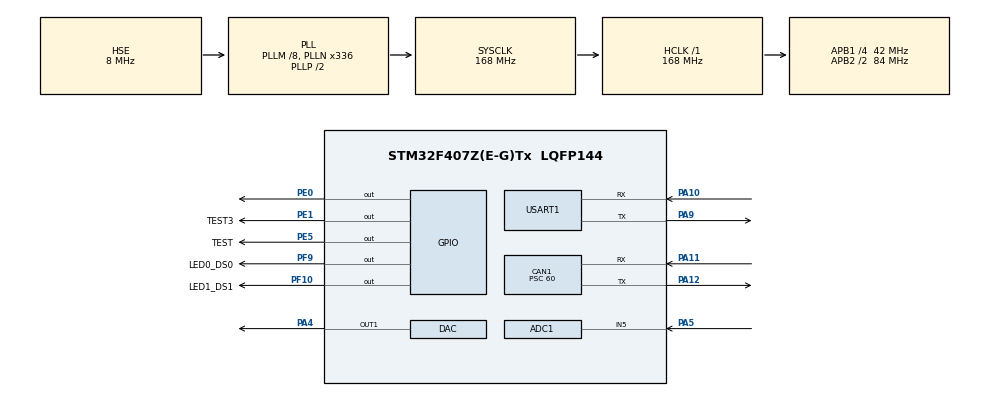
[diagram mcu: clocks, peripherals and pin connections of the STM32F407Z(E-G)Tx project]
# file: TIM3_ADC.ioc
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ADC1.Channel-0\#ChannelRegularConversion=ADC_CHANNEL_5
ADC1.ClockPrescaler=ADC_CLOCK_SYNC_PCLK_DIV4
ADC1.ContinuousConvMode=DISABLE
ADC1.DMAContinuousRequests=ENABLE
ADC1.DataAlign=ADC_DATAALIGN_RIGHT
ADC1.DiscontinuousConvMode=DISABLE
ADC1.EOCSelection=ADC_EOC_SINGLE_CONV
ADC1.EnableAnalogWatchDog=false
ADC1.ExternalTrigConv=ADC_EXTERNALTRIGCONV_T3_TRGO
ADC1.ExternalTrigConvEdge=ADC_EXTERNALTRIGCONVEDGE_RISING
ADC1.InjNumberOfConversion=0
ADC1.NbrOfConversion=1
ADC1.NbrOfConversionFlag=1
ADC1.Rank-0\#ChannelRegularConversion=1
ADC1.Resolution=ADC_RESOLUTION_12B
ADC1.SamplingTime-0\#ChannelRegularConversion=ADC_SAMPLETIME_3CYCLES
ADC1.ScanConvMode=DISABLE
ADC1.master=1
CAN1.BS1=CAN_BS1_6TQ
CAN1.BS2=CAN_BS2_7TQ
CAN1.CalculateTimeBit=20000
CAN1.CalculateTimeQuantum=1428.5714285714287
CAN1.Mode=CAN_MODE_NORMAL
CAN1.Prescaler=60
DAC.DAC_Trigger=DAC_TRIGGER_T2_TRGO
Dma.ADC1.4.Direction=DMA_PERIPH_TO_MEMORY
Dma.ADC1.4.FIFOMode=DMA_FIFOMODE_DISABLE
Dma.ADC1.4.Instance=DMA2_Stream0
Dma.ADC1.4.MemDataAlignment=DMA_MDATAALIGN_HALFWORD
Dma.ADC1.4.MemInc=DMA_MINC_ENABLE
Dma.ADC1.4.Mode=DMA_NORMAL
Dma.ADC1.4.PeriphDataAlignment=DMA_PDATAALIGN_HALFWORD
Dma.ADC1.4.PeriphInc=DMA_PINC_DISABLE
Dma.ADC1.4.Priority=DMA_PRIORITY_MEDIUM
Dma.DAC1.3.Direction=DMA_MEMORY_TO_PERIPH
Dma.DAC1.3.FIFOMode=DMA_FIFOMODE_DISABLE
Dma.DAC1.3.Instance=DMA1_Stream5
Dma.DAC1.3.MemDataAlignment=DMA_MDATAALIGN_HALFWORD
Dma.DAC1.3.MemInc=DMA_MINC_ENABLE
Dma.DAC1.3.Mode=DMA_NORMAL
Dma.DAC1.3.PeriphDataAlignment=DMA_PDATAALIGN_HALFWORD
Dma.DAC1.3.PeriphInc=DMA_PINC_DISABLE
Dma.DAC1.3.Priority=DMA_PRIORITY_MEDIUM
Dma.MEMTOMEM.0.Direction=DMA_MEMORY_TO_MEMORY
Dma.MEMTOMEM.0.FIFOMode=DMA_FIFOMODE_ENABLE
Dma.MEMTOMEM.0.FIFOThreshold=DMA_FIFO_THRESHOLD_FULL
Dma.MEMTOMEM.0.Instance=DMA2_Stream1
Dma.MEMTOMEM.0.MemBurst=DMA_MBURST_SINGLE
Dma.MEMTOMEM.0.MemDataAlignment=DMA_MDATAALIGN_HALFWORD
Dma.MEMTOMEM.0.MemInc=DMA_MINC_ENABLE
Dma.MEMTOMEM.0.Mode=DMA_NORMAL
Dma.MEMTOMEM.0.PeriphBurst=DMA_PBURST_SINGLE
Dma.MEMTOMEM.0.PeriphDataAlignment=DMA_PDATAALIGN_HALFWORD
Dma.MEMTOMEM.0.PeriphInc=DMA_PINC_ENABLE
Dma.MEMTOMEM.0.Priority=DMA_PRIORITY_LOW
Dma.MEMTOMEM.1.Direction=DMA_MEMORY_TO_MEMORY
Dma.MEMTOMEM.1.FIFOMode=DMA_FIFOMODE_ENABLE
Dma.MEMTOMEM.1.FIFOThreshold=DMA_FIFO_THRESHOLD_FULL
Dma.MEMTOMEM.1.Instance=DMA2_Stream2
Dma.MEMTOMEM.1.MemBurst=DMA_MBURST_SINGLE
Dma.MEMTOMEM.1.MemDataAlignment=DMA_MDATAALIGN_BYTE
Dma.MEMTOMEM.1.MemInc=DMA_MINC_ENABLE
Dma.MEMTOMEM.1.Mode=DMA_NORMAL
Dma.MEMTOMEM.1.PeriphBurst=DMA_PBURST_SINGLE
Dma.MEMTOMEM.1.PeriphDataAlignment=DMA_PDATAALIGN_BYTE
Dma.MEMTOMEM.1.PeriphInc=DMA_PINC_ENABLE
Dma.MEMTOMEM.1.Priority=DMA_PRIORITY_LOW
Dma.Request0=MEMTOMEM
Dma.Request1=MEMTOMEM
Dma.Request2=USART1_TX
Dma.Request3=DAC1
Dma.Request4=ADC1
Dma.USART1_TX.2.Direction=DMA_MEMORY_TO_PERIPH
Dma.USART1_TX.2.FIFOMode=DMA_FIFOMODE_DISABLE
Dma.USART1_TX.2.Instance=DMA2_Stream7
Dma.USART1_TX.2.MemDataAlignment=DMA_MDATAALIGN_BYTE
Dma.USART1_TX.2.MemInc=DMA_MINC_ENABLE
Dma.USART1_TX.2.Mode=DMA_NORMAL
Dma.USART1_TX.2.PeriphDataAlignment=DMA_PDATAALIGN_BYTE
Dma.USART1_TX.2.PeriphInc=DMA_PINC_DISABLE
Dma.USART1_TX.2.Priority=DMA_PRIORITY_LOW
FREERTOS.BinarySemaphores01=myBinarySemDMAFinished,Dynamic,NULL;myBinarySemADCCplt,Dynamic,NULL;myBinarySemADCHalfCplt,Dynamic,NULL;myBinarySemTest,Dynamic,NULL;myBinarySemDecInBufferReady,Dynamic,NULL;myBinarySemEncodCplt,Dynamic,NULL;myBinarySemCanRecvCplt,Dynamic,NULL
FREERTOS.Tasks01=defaultTask,0,128,StartDefaultTask,Default,NULL,Dynamic,NULL,NULL;myTask02,-3,128,StartTask02,Default,NULL,Dynamic,NULL,NULL;myTaskSpeexEnc,3,512,StartTaskSpeexEnc,Default,NULL,Dynamic,NULL,NULL;myTaskSpeexDec,3,512,StartTaskSpeexDec,Default,NULL,Dynamic,NULL,NULL;myTaskUI,3,512,StartTaskUI,Default,NULL,Dynamic,NULL,NULL;myTaskCanBusSend,2,512,StartTaskCanBusSend,Default,NULL,Dynamic,NULL,NULL;myTaskCanRecvPreProcess,2,512,StartTaskCanRecvPreProcess,Default,NULL,Dynamic,NULL,NULL
FREERTOS.configGENERATE_RUN_TIME_STATS=0
FREERTOS.configMAX_TASK_NAME_LEN=32
FREERTOS.configUSE_STATS_FORMATTING_FUNCTIONS=0
FREERTOS.configUSE_TRACE_FACILITY=1
Mcu.Family=STM32F4
Mcu.Name=STM32F407Z(E-G)Tx
Mcu.Package=LQFP144
NVIC.CAN1_RX0_IRQn=true\:5\:0\:false\:false\:true\:true\:true
NVIC.DMA1_Stream5_IRQn=true\:5\:0\:false\:false\:true\:true\:false
NVIC.DMA2_Stream0_IRQn=true\:5\:0\:false\:false\:true\:true\:false
NVIC.DMA2_Stream1_IRQn=true\:5\:0\:false\:false\:true\:true\:true
NVIC.DMA2_Stream2_IRQn=true\:5\:0\:false\:false\:true\:true\:true
NVIC.DMA2_Stream7_IRQn=true\:5\:0\:false\:false\:true\:true\:false
NVIC.PriorityGroup=NVIC_PRIORITYGROUP_4
NVIC.TIM1_UP_TIM10_IRQn=true\:0\:0\:false\:false\:true\:false\:false
NVIC.TIM2_IRQn=true\:5\:0\:false\:false\:true\:true\:true
NVIC.TIM3_IRQn=true\:5\:0\:false\:false\:true\:true\:true
NVIC.TIM5_IRQn=true\:5\:0\:false\:false\:true\:true\:true
NVIC.TimeBase=TIM1_UP_TIM10_IRQn
NVIC.TimeBaseIP=TIM1
NVIC.USART1_IRQn=true\:5\:0\:false\:false\:true\:true\:true
PA10.Mode=Asynchronous
PA10.Signal=USART1_RX
PA11.Mode=Master
PA11.Signal=CAN1_RX
PA12.Mode=Master
PA12.Signal=CAN1_TX
PA4.Signal=COMP_DAC1_group
PA5.Signal=ADCx_IN5
PA9.Mode=Asynchronous
PA9.Signal=USART1_TX
PE0.Signal=GPIO_Output
PE1.GPIO_Label=TEST3
PE1.GPIO_PuPd=GPIO_PULLUP
PE1.GPIO_Speed=GPIO_SPEED_FREQ_HIGH
PE1.Signal=GPIO_Output
PE5.GPIO_Label=TEST
PE5.GPIO_PuPd=GPIO_PULLUP
PE5.GPIO_Speed=GPIO_SPEED_FREQ_HIGH
PE5.Signal=GPIO_Output
PF10.GPIO_Label=LED1_DS1
PF10.Signal=GPIO_Output
PF9.GPIO_Label=LED0_DS0
PF9.Signal=GPIO_Output
PH0-OSC_IN.Mode=HSE-External-Oscillator
PH0-OSC_IN.Signal=RCC_OSC_IN
PH1-OSC_OUT.Mode=HSE-External-Oscillator
PH1-OSC_OUT.Signal=RCC_OSC_OUT
ProjectManager.HeapSize=0x200
ProjectManager.StackSize=0x400
ProjectManager.TargetToolchain=MDK-ARM V5
RCC.48MHZClocksFreq_Value=84000000
RCC.AHBFreq_Value=168000000
RCC.APB1CLKDivider=RCC_HCLK_DIV4
RCC.APB1Freq_Value=42000000
RCC.APB1TimFreq_Value=84000000
RCC.APB2CLKDivider=RCC_HCLK_DIV2
RCC.APB2Freq_Value=84000000
RCC.APB2TimFreq_Value=168000000
RCC.CortexFreq_Value=168000000
RCC.HCLKFreq_Value=168000000
RCC.HSE_VALUE=8000000
RCC.HSI_VALUE=16000000
RCC.LSE_VALUE=32768
RCC.PLLM=8
RCC.PLLN=336
RCC.PLLSourceVirtual=RCC_PLLSOURCE_HSE
RCC.SYSCLKFreq_VALUE=168000000
RCC.SYSCLKSource=RCC_SYSCLKSOURCE_PLLCLK
RCC.VCOOutputFreq_Value=336000000
SH.ADCx_IN5.0=ADC1_IN5,IN5
SH.COMP_DAC1_group.0=DAC_OUT1,DAC_OUT1
TIM2.Period=499
TIM2.Prescaler=20
TIM2.TIM_MasterOutputTrigger=TIM_TRGO_UPDATE
TIM3.Period=499
TIM3.Prescaler=20
TIM3.TIM_MasterOutputTrigger=TIM_TRGO_UPDATE
TIM5.Period=199
TIM5.Prescaler=8399
USART1.VirtualMode=VM_ASYNC
VP_FREERTOS_VS_ENABLE.Mode=Enabled
VP_SYS_VS_tim1.Mode=TIM1
VP_TIM2_VS_ClockSourceINT.Mode=Internal
VP_TIM3_VS_ClockSourceINT.Mode=Internal
VP_TIM5_VS_ClockSourceINT.Mode=Internal
board=TIM3_ADC

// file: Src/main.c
/**
  ******************************************************************************
  * File Name          : main.c
  * Description        : Main program body
  ******************************************************************************
  * This notice applies to any and all portions of this file
  * that are not between comment pairs USER CODE BEGIN and
  * USER CODE END. Other portions of this file, whether
  * inserted by the user or by software development tools
  * are owned by their respective copyright owners.
  *
  * Copyright (c) 2018 STMicroelectronics International N.V.
  * All rights reserved.
  *
  * Redistribution and use in source and binary forms, with or without
  * modification, are permitted, provided that the following conditions are met:
  *
  * 1. Redistribution of source code must retain the above copyright notice,
  *    this list of conditions and the following disclaimer.
  * 2. Redistributions in binary form must reproduce the above copyright notice,
  *    this list of conditions and the following disclaimer in the documentation
  *    and/or other materials provided with the distribution.
  * 3. Neither the name of STMicroelectronics nor the names of other
  *    contributors to this software may be used to endorse or promote products
  *    derived from this software without specific written permission.
  * 4. This software, including modifications and/or derivative works of this
  *    software, must execute solely and exclusively on microcontroller or
  *    microprocessor devices manufactured by or for STMicroelectronics.
  * 5. Redistribution and use of this software other than as permitted under
  *    this license is void and will automatically terminate your rights under
  *    this license.
  *
  * THIS SOFTWARE IS PROVIDED BY STMICROELECTRONICS AND CONTRIBUTORS "AS IS"
  * AND ANY EXPRESS, IMPLIED OR STATUTORY WARRANTIES, INCLUDING, BUT NOT
  * LIMITED TO, THE IMPLIED WARRANTIES OF MERCHANTABILITY, FITNESS FOR A
  * PARTICULAR PURPOSE AND NON-INFRINGEMENT OF THIRD PARTY INTELLECTUAL PROPERTY
  * RIGHTS ARE DISCLAIMED TO THE FULLEST EXTENT PERMITTED BY LAW. IN NO EVENT
  * SHALL STMICROELECTRONICS OR CONTRIBUTORS BE LIABLE FOR ANY DIRECT, INDIRECT,
  * INCIDENTAL, SPECIAL, EXEMPLARY, OR CONSEQUENTIAL DAMAGES (INCLUDING, BUT NOT
  * LIMITED TO, PROCUREMENT OF SUBSTITUTE GOODS OR SERVICES; LOSS OF USE, DATA,
  * OR PROFITS; OR BUSINESS INTERRUPTION) HOWEVER CAUSED AND ON ANY THEORY OF
  * LIABILITY, WHETHER IN CONTRACT, STRICT LIABILITY, OR TORT (INCLUDING
  * NEGLIGENCE OR OTHERWISE) ARISING IN ANY WAY OUT OF THE USE OF THIS SOFTWARE,
  * EVEN IF ADVISED OF THE POSSIBILITY OF SUCH DAMAGE.
  *
  ******************************************************************************
  */
#include "main.h"
#include "stm32f4xx_hal.h"
#include "cmsis_os.h"
#include "adc.h"
#include "can.h"
#include "dac.h"
#include "dma.h"
#include "tim.h"
#include "usart.h"
#include "gpio.h"

/* USER CODE BEGIN Includes */
#include "key.h"
#include "malloc.h"
#include "custom_types.h"
#include "speex/speex.h"
/* USER CODE END Includes */

/* USER CODE BEGIN PV */
/* Private variables ---------------------------------------------------------*/
extern osSemaphoreId myBinarySemADCCpltHandle;
extern osSemaphoreId myBinarySemADCHalfCpltHandle;

int16_t buffer[FRAME_SIZE*2];
int16_t buffer_U[FRAME_SIZE];
char dec_in_buffer_1[ENCODED_FRAME_SIZE];
char dec_in_buffer_2[ENCODED_FRAME_SIZE];
uint8_t dec_in_buffer_1_dec_busy; //DMA双缓冲标记[DMA传输] 1忙，向2缓冲区传递数据；0不忙，向1缓冲区传递数据
uint32_t len,i;

//speex
__IO int16_t SPEEX_ENC_IN_BUFFER[FRAME_SIZE];
__IO uint16_t SPEEX_ENC_IN_BUFFER_U[FRAME_SIZE];
__IO int16_t SPEEX_DEC_OUT_Buffer_1[FRAME_SIZE];
__IO int16_t SPEEX_DEC_OUT_Buffer_2[FRAME_SIZE];

__IO uint16_t SPEEX_DEC_OUT_Buffer_1_U[FRAME_SIZE];
__IO uint16_t SPEEX_DEC_OUT_Buffer_2_U[FRAME_SIZE];
uint32_t Encoded_Frames=0;

SpeexBits bits,decBits;/* Holds bits so they can be read and written by the Speex routines */
void *enc_state, *dec_state;/* Holds the states of the encoder & the decoder */
int quality = 4, complexity=1, vbr=0, enh=1;/* SPEEX PARAMETERS, MUST REMAINED UNCHANGED */

extern uint8_t Start_Decoding;
extern uint8_t Playing_buf;

char out_bytes[ENCODED_FRAME_SIZE];
char remote_dec_in_bytes[ENCODED_FRAME_SIZE];
uint8_t can_bus_encoded_buf[ENCODED_FRAME_SIZE];
uint8_t can_bus_buf[ENCODED_FRAME_SIZE];
char input_bytes[ENCODED_FRAME_SIZE*2]; //使用双缓冲，DMA传输提供HALFCplt和Cple两个信号，每个信号间隔【10ms】【为数据流节拍】
/* USER CODE END PV */

void SystemClock_Config(void);
void MX_FREERTOS_Init(void);

/* USER CODE BEGIN PFP */
/* Private function prototypes -----------------------------------------------*/

/* USER CODE END PFP */

int main(void)
{

  /* USER CODE BEGIN 1 */
	int frame_size=0;
  /* USER CODE END 1 */

  /* MCU Configuration----------------------------------------------------------*/

  /* Reset of all peripherals, Initializes the Flash interface and the Systick. */
  HAL_Init();

  /* USER CODE BEGIN Init */
	KEY_Init();
	my_mem_init(SRAMIN); //初始化内部内存池

	speex_bits_init(&bits);
	//编码器初始化
	enc_state = speex_encoder_init(&speex_nb_mode);
	speex_encoder_ctl(enc_state, SPEEX_SET_VBR, &vbr);
	speex_encoder_ctl(enc_state, SPEEX_SET_QUALITY,&quality);
	speex_encoder_ctl(enc_state, SPEEX_SET_COMPLEXITY, &complexity);
	//解码器初始化
	speex_bits_init(&decBits);
	/*Create a new decoder state in narrowband mode*/
	dec_state = speex_decoder_init(&speex_nb_mode);
	speex_decoder_ctl(dec_state, SPEEX_SET_ENH, &enh);

  /* USER CODE END Init */

  /* Configure the system clock */
  SystemClock_Config();

  /* Initialize all configured peripherals */
  MX_GPIO_Init();
  MX_DMA_Init();
  MX_ADC1_Init();
  MX_TIM3_Init();
  MX_USART1_UART_Init();
  MX_CAN1_Init();
  MX_TIM2_Init();
  MX_DAC_Init();
  MX_TIM5_Init();

  /* USER CODE BEGIN 2 */
	HAL_TIM_Base_Start_IT(&htim3);
	HAL_TIM_Base_Start_IT(&htim2);

	CAN1_USER_CONFIG();  //CAN 用户自定义，cubeMX有些内容没有自动生成
	HAL_CAN_Receive_IT(&hcan1, CAN_FIFO0); //启动canbus中断接收

	//HAL_UART_Transmit_DMA(&huart1, buffer, len);

	//vTraceEnable(TRC_INIT);
	//vTraceEnable(TRC_START);
	/*启动trace选项*/
	//vTraceEnable(TRC_START_AWAIT_HOST);
  /* USER CODE END 2 */

  /* Call init function for freertos objects (in freertos.c) */
  MX_FREERTOS_Init();

  /* Start scheduler */
  osKernelStart();

  /* We should never get here as control is now taken by the scheduler */

  /* Infinite loop */
  while (1)
  {

  }

}

/** System Clock Configuration
*/
void SystemClock_Config(void)
{

  RCC_OscInitTypeDef RCC_OscInitStruct;
  RCC_ClkInitTypeDef RCC_ClkInitStruct;

    /**Configure the main internal regulator output voltage
    */
  __HAL_RCC_PWR_CLK_ENABLE();

  __HAL_PWR_VOLTAGESCALING_CONFIG(PWR_REGULATOR_VOLTAGE_SCALE1);

    /**Initializes the CPU, AHB and APB busses clocks
    */
  RCC_OscInitStruct.OscillatorType = RCC_OSCILLATORTYPE_HSE;
  RCC_OscInitStruct.HSEState = RCC_HSE_ON;
  RCC_OscInitStruct.PLL.PLLState = RCC_PLL_ON;
  RCC_OscInitStruct.PLL.PLLSource = RCC_PLLSOURCE_HSE;
  RCC_OscInitStruct.PLL.PLLM = 8;
  RCC_OscInitStruct.PLL.PLLN = 336;
  RCC_OscInitStruct.PLL.PLLP = RCC_PLLP_DIV2;
  RCC_OscInitStruct.PLL.PLLQ = 4;
  if (HAL_RCC_OscConfig(&RCC_OscInitStruct) != HAL_OK)
  {
    _Error_Handler(__FILE__, __LINE__);
  }

    /**Initializes the CPU, AHB and APB busses clocks
    */
  RCC_ClkInitStruct.ClockType = RCC_CLOCKTYPE_HCLK|RCC_CLOCKTYPE_SYSCLK
                              |RCC_CLOCKTYPE_PCLK1|RCC_CLOCKTYPE_PCLK2;
  RCC_ClkInitStruct.SYSCLKSource = RCC_SYSCLKSOURCE_PLLCLK;
  RCC_ClkInitStruct.AHBCLKDivider = RCC_SYSCLK_DIV1;
  RCC_ClkInitStruct.APB1CLKDivider = RCC_HCLK_DIV4;
  RCC_ClkInitStruct.APB2CLKDivider = RCC_HCLK_DIV2;

  if (HAL_RCC_ClockConfig(&RCC_ClkInitStruct, FLASH_LATENCY_5) != HAL_OK)
  {
    _Error_Handler(__FILE__, __LINE__);
  }

    /**Configure the Systick interrupt time
    */
  HAL_SYSTICK_Config(HAL_RCC_GetHCLKFreq()/1000);

    /**Configure the Systick
    */
  HAL_SYSTICK_CLKSourceConfig(SYSTICK_CLKSOURCE_HCLK);

  /* SysTick_IRQn interrupt configuration */
  HAL_NVIC_SetPriority(SysTick_IRQn, 15, 0);
}

/* USER CODE BEGIN 4 */
/* ADC DMA half-complete callback */
void HAL_ADC_ConvHalfCpltCallback(ADC_HandleTypeDef* hadc)
{
  /* Prevent unused argument(s) compilation warning */
  //UNUSED(hadc);
  /* NOTE : This function Should not be modified, when the callback is needed,
            the HAL_ADC_ConvHalfCpltCallback could be implemented in the user file
   */
	//HAL_GPIO_TogglePin(TEST3_GPIO_Port, TEST3_Pin);
	//xSemaphoreGiveFromISR(myBinarySemADCHalfCpltHandle, NULL);
	uint32_t i;
	int32_t tmp;
	//12bitADC采用左对齐方式[16bit half word]
	for(i=0;i<FRAME_SIZE;i++){
		tmp = (buffer[i] - 0x800) * 0x7FFF / 0x800;
		buffer[i] = (int16_t)tmp;
		//buffer[i] -= DATA_WIDTH_MAX_HALF; //平移操作，位于0值上下
	}
	HAL_DMA_Start_IT(&hdma_memtomem_dma2_stream1, (uint32_t)buffer, (uint32_t)SPEEX_ENC_IN_BUFFER, FRAME_SIZE);

	//临时启动DAC DMA传输，测试音频通路
	//for(i=0;i<)
	//HAL_DAC_Start_DMA(&hdac, DAC_CHANNEL_1, (uint32_t *)buffer, FRAME_SIZE, DAC_ALIGN_12B_R);
}

/* ADC DMA complete callback */
/* ADC double buffer is implemented by half-complete and full-complete DMA transmission signal */
void HAL_ADC_ConvCpltCallback(ADC_HandleTypeDef* hadc)
{
  /* Prevent unused argument(s) compilation warning */
  //UNUSED(hadc);
  /* NOTE : This function Should not be modified, when the callback is needed,
            the HAL_ADC_ConvCpltCallback could be implemented in the user file
   */

	//HAL_GPIO_TogglePin(TEST_GPIO_Port, TEST_Pin);
	uint32_t i;
	int32_t tmp;
	//12bitADC采用左对齐方式【16bit half word】
	for(i=0;i<FRAME_SIZE;i++){
		tmp = (buffer[i + FRAME_SIZE] - 0x800) * 0x7FFF / 0x800;
		buffer[i + FRAME_SIZE] = (int16_t)tmp;
//		buffer[i + FRAME_SIZE] <<= 3;
//		buffer[i + FRAME_SIZE] -= DATA_WIDTH_MAX_HALF; //平移操作，位于0值上下
	}
	HAL_ADC_Start_DMA(&hadc1, (uint32_t*)buffer, FRAME_SIZE*2);

	/*启动 memory to memory DMA传输，将双缓冲中的数据依次送往SPEEX编码缓冲区*/
	/*将双缓冲的后半部分通过DMA传输至SPEEX编码缓冲区*/
	HAL_DMA_Start_IT(&hdma_memtomem_dma2_stream1, (uint32_t)&buffer[FRAME_SIZE], (uint32_t)SPEEX_ENC_IN_BUFFER, FRAME_SIZE);

	//临时启动DAC DMA传输，测试音频通路
	//HAL_DAC_Start_DMA(&hdac, DAC_CHANNEL_1, (uint32_t *)&buffer[FRAME_SIZE], FRAME_SIZE, DAC_ALIGN_12B_R);
}

void HAL_DAC_ConvHalfCpltCallbackCh1(DAC_HandleTypeDef* hdac)
{
  /* Prevent unused argument(s) compilation warning */
  UNUSED(hdac);
  /* NOTE : This function Should not be modified, when the callback is needed,
            the HAL_DAC_ConvHalfCpltCallbackCh1 could be implemented in the user file
   */

}

void HAL_DAC_ConvCpltCallbackCh1(DAC_HandleTypeDef* hdac)
{
  /* Prevent unused argument(s) compilation warning */
//  UNUSED(hdac);
  /* NOTE : This function Should not be modified, when the callback is needed,
            the HAL_DAC_ConvCpltCallback could be implemented in the user file
   */
	//HAL_GPIO_TogglePin(TEST3_GPIO_Port, TEST3_Pin);
	if(Playing_buf == 1){
		Playing_buf =2; //切换播放buf2
		Start_Decoding = 1; //buf1播放完之后向buf1中解码数据
		HAL_DAC_Start_DMA(hdac, DAC_CHANNEL_1, (uint32_t *)SPEEX_DEC_OUT_Buffer_2_U, FRAME_SIZE, DAC_ALIGN_12B_R);

	}
	else if(Playing_buf == 2){
		Playing_buf = 1;//切换播放buf1
		Start_Decoding = 2; //buf1播放完之后向buf1中解码数据
		HAL_DAC_Start_DMA(hdac, DAC_CHANNEL_1, (uint32_t *)SPEEX_DEC_OUT_Buffer_1_U, FRAME_SIZE, DAC_ALIGN_12B_R);

	}
}
/**
  * @brief  Ovveride the _speex_putc function of the speex library
  * @param  None
  * @retval : None
  */
void _speex_putc(int ch, void *file)
{
  while(1)
  {
  };
}

/**
  * @brief  Ovveride the _speex_fatal function of the speex library
  * @param  None
  * @retval : None
  */
void _speex_fatal(const char *str, const char *file, int line)
{
  while(1)
  {
  };
}

/* USER CODE END 4 */

void HAL_TIM_PeriodElapsedCallback(TIM_HandleTypeDef *htim)
{
  if (htim->Instance == TIM1) {
    HAL_IncTick();
  }
/* USER CODE BEGIN Callback 1 */
//	if (htim->Instance == TIM3) {
//		//HAL_GPIO_TogglePin(TEST_GPIO_Port, TEST_Pin);
//	}
/* USER CODE END Callback 1 */
}

void _Error_Handler(char * file, int line)
{
  while(1)
  {
  }
}

/************************ (C) COPYRIGHT STMicroelectronics *****END OF FILE****/

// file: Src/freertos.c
/**
  ******************************************************************************
  * File Name          : freertos.c
  * Description        : Code for freertos applications
  ******************************************************************************
  * This notice applies to any and all portions of this file
  * that are not between comment pairs USER CODE BEGIN and
  * USER CODE END. Other portions of this file, whether
  * inserted by the user or by software development tools
  * are owned by their respective copyright owners.
  *
  * Copyright (c) 2018 STMicroelectronics International N.V.
  * All rights reserved.
  *
  * Redistribution and use in source and binary forms, with or without
  * modification, are permitted, provided that the following conditions are met:
  *
  * 1. Redistribution of source code must retain the above copyright notice,
  *    this list of conditions and the following disclaimer.
  * 2. Redistributions in binary form must reproduce the above copyright notice,
  *    this list of conditions and the following disclaimer in the documentation
  *    and/or other materials provided with the distribution.
  * 3. Neither the name of STMicroelectronics nor the names of other
  *    contributors to this software may be used to endorse or promote products
  *    derived from this software without specific written permission.
  * 4. This software, including modifications and/or derivative works of this
  *    software, must execute solely and exclusively on microcontroller or
  *    microprocessor devices manufactured by or for STMicroelectronics.
  * 5. Redistribution and use of this software other than as permitted under
  *    this license is void and will automatically terminate your rights under
  *    this license.
  *
  * THIS SOFTWARE IS PROVIDED BY STMICROELECTRONICS AND CONTRIBUTORS "AS IS"
  * AND ANY EXPRESS, IMPLIED OR STATUTORY WARRANTIES, INCLUDING, BUT NOT
  * LIMITED TO, THE IMPLIED WARRANTIES OF MERCHANTABILITY, FITNESS FOR A
  * PARTICULAR PURPOSE AND NON-INFRINGEMENT OF THIRD PARTY INTELLECTUAL PROPERTY
  * RIGHTS ARE DISCLAIMED TO THE FULLEST EXTENT PERMITTED BY LAW. IN NO EVENT
  * SHALL STMICROELECTRONICS OR CONTRIBUTORS BE LIABLE FOR ANY DIRECT, INDIRECT,
  * INCIDENTAL, SPECIAL, EXEMPLARY, OR CONSEQUENTIAL DAMAGES (INCLUDING, BUT NOT
  * LIMITED TO, PROCUREMENT OF SUBSTITUTE GOODS OR SERVICES; LOSS OF USE, DATA,
  * OR PROFITS; OR BUSINESS INTERRUPTION) HOWEVER CAUSED AND ON ANY THEORY OF
  * LIABILITY, WHETHER IN CONTRACT, STRICT LIABILITY, OR TORT (INCLUDING
  * NEGLIGENCE OR OTHERWISE) ARISING IN ANY WAY OUT OF THE USE OF THIS SOFTWARE,
  * EVEN IF ADVISED OF THE POSSIBILITY OF SUCH DAMAGE.
  *
  ******************************************************************************
  */

#include "FreeRTOS.h"
#include "task.h"
#include "cmsis_os.h"

/* USER CODE BEGIN Includes */
#include "gpio.h"
#include "key.h"
#include "usart.h"
#include "dma.h"
#include "stdlib.h"
#include "custom_types.h"
#include "speex/speex.h"
#include "speex/speex_config_types.h"
#include "dac.h"
#include "voice.h"
#include "tim.h"
#include "adc.h"
#include "can.h"
/* USER CODE END Includes */

osThreadId defaultTaskHandle;
osThreadId myTask02Handle;
osThreadId myTaskSpeexEncHandle;
osThreadId myTaskSpeexDecHandle;
osThreadId myTaskUIHandle;
osThreadId myTaskCanBusSendHandle;
osThreadId myTaskCanRecvPreProcessHandle;
osSemaphoreId myBinarySemDMAFinishedHandle;
osSemaphoreId myBinarySemADCCpltHandle;
osSemaphoreId myBinarySemADCHalfCpltHandle;
osSemaphoreId myBinarySemTestHandle;
osSemaphoreId myBinarySemDecInBufferReadyHandle;
osSemaphoreId myBinarySemEncodCpltHandle;
osSemaphoreId myBinarySemCanRecvCpltHandle;

/* USER CODE BEGIN Variables */
extern SpeexBits bits,decBits;/* Holds bits so they can be read and written by the Speex routines */
extern void *enc_state, *dec_state;/* Holds the states of the encoder & the decoder */

extern int16_t buffer[FRAME_SIZE*2];
extern int16_t buffer_U[FRAME_SIZE];
extern char dec_in_buffer_1[ENCODED_FRAME_SIZE];
extern char dec_in_buffer_2[ENCODED_FRAME_SIZE];
extern uint8_t dec_in_buffer_1_dec_busy;
extern __IO int16_t SPEEX_ENC_IN_BUFFER[FRAME_SIZE];
extern __IO uint16_t SPEEX_ENC_IN_BUFFER_U[FRAME_SIZE];
extern __IO int16_t SPEEX_DEC_OUT_Buffer_1[FRAME_SIZE];
extern __IO int16_t SPEEX_DEC_OUT_Buffer_2[FRAME_SIZE];
extern __IO uint16_t SPEEX_DEC_OUT_Buffer_1_U[FRAME_SIZE];
extern __IO uint16_t SPEEX_DEC_OUT_Buffer_2_U[FRAME_SIZE];
extern char out_bytes[ENCODED_FRAME_SIZE];
extern char remote_dec_in_bytes[ENCODED_FRAME_SIZE];
extern uint8_t can_bus_encoded_buf[ENCODED_FRAME_SIZE];
extern uint8_t can_bus_buf[ENCODED_FRAME_SIZE];

uint8_t Start_Decoding;
uint8_t Playing_buf;
/* USER CODE END Variables */

void StartDefaultTask(void const * argument);
void StartTask02(void const * argument);
void StartTaskSpeexEnc(void const * argument);
void StartTaskSpeexDec(void const * argument);
void StartTaskUI(void const * argument);
void StartTaskCanBusSend(void const * argument);
void StartTaskCanRecvPreProcess(void const * argument);

void MX_FREERTOS_Init(void); /* (MISRA C 2004 rule 8.1) */

/* Hook prototypes */

/* Init FreeRTOS */

void MX_FREERTOS_Init(void) {

  /* Create the semaphores(s) */
  /* definition and creation of myBinarySemDMAFinished */
  osSemaphoreDef(myBinarySemDMAFinished);
  myBinarySemDMAFinishedHandle = osSemaphoreCreate(osSemaphore(myBinarySemDMAFinished), 1);

  /* definition and creation of myBinarySemADCCplt */
  osSemaphoreDef(myBinarySemADCCplt);
  myBinarySemADCCpltHandle = osSemaphoreCreate(osSemaphore(myBinarySemADCCplt), 1);

  /* definition and creation of myBinarySemADCHalfCplt */
  osSemaphoreDef(myBinarySemADCHalfCplt);
  myBinarySemADCHalfCpltHandle = osSemaphoreCreate(osSemaphore(myBinarySemADCHalfCplt), 1);

  /* definition and creation of myBinarySemTest */
  osSemaphoreDef(myBinarySemTest);
  myBinarySemTestHandle = osSemaphoreCreate(osSemaphore(myBinarySemTest), 1);

  /* definition and creation of myBinarySemDecInBufferReady */
  osSemaphoreDef(myBinarySemDecInBufferReady);
  myBinarySemDecInBufferReadyHandle = osSemaphoreCreate(osSemaphore(myBinarySemDecInBufferReady), 1);

  /* definition and creation of myBinarySemEncodCplt */
  osSemaphoreDef(myBinarySemEncodCplt);
  myBinarySemEncodCpltHandle = osSemaphoreCreate(osSemaphore(myBinarySemEncodCplt), 1);

  /* definition and creation of myBinarySemCanRecvCplt */
  osSemaphoreDef(myBinarySemCanRecvCplt);
  myBinarySemCanRecvCpltHandle = osSemaphoreCreate(osSemaphore(myBinarySemCanRecvCplt), 1);

  /* Create the thread(s) */
  /* definition and creation of defaultTask */
  osThreadDef(defaultTask, StartDefaultTask, osPriorityNormal, 0, 128);
  defaultTaskHandle = osThreadCreate(osThread(defaultTask), NULL);

  /* definition and creation of myTask02 */
  osThreadDef(myTask02, StartTask02, osPriorityIdle, 0, 128);
  myTask02Handle = osThreadCreate(osThread(myTask02), NULL);

  /* definition and creation of myTaskSpeexEnc */
  osThreadDef(myTaskSpeexEnc, StartTaskSpeexEnc, osPriorityRealtime, 0, 512);
  myTaskSpeexEncHandle = osThreadCreate(osThread(myTaskSpeexEnc), NULL);

  /* definition and creation of myTaskSpeexDec */
  osThreadDef(myTaskSpeexDec, StartTaskSpeexDec, osPriorityRealtime, 0, 512);
  myTaskSpeexDecHandle = osThreadCreate(osThread(myTaskSpeexDec), NULL);

  /* definition and creation of myTaskUI */
  osThreadDef(myTaskUI, StartTaskUI, osPriorityRealtime, 0, 512);
  myTaskUIHandle = osThreadCreate(osThread(myTaskUI), NULL);

  /* definition and creation of myTaskCanBusSend */
  osThreadDef(myTaskCanBusSend, StartTaskCanBusSend, osPriorityHigh, 0, 512);
  myTaskCanBusSendHandle = osThreadCreate(osThread(myTaskCanBusSend), NULL);

  /* definition and creation of myTaskCanRecvPreProcess */
  osThreadDef(myTaskCanRecvPreProcess, StartTaskCanRecvPreProcess, osPriorityHigh, 0, 512);
  myTaskCanRecvPreProcessHandle = osThreadCreate(osThread(myTaskCanRecvPreProcess), NULL);

}

/* StartDefaultTask function */
void StartDefaultTask(void const * argument)
{

  /* USER CODE BEGIN StartDefaultTask */
  /* Infinite loop */
  for(;;)
  {
    osDelay(1000);
	  HAL_GPIO_TogglePin(GPIOF, LED1_DS1_Pin);
  }
  /* USER CODE END StartDefaultTask */
}

/* StartTask02 function */
void StartTask02(void const * argument)
{
  /* USER CODE BEGIN StartTask02 */
	uint8_t keyVal;
	uint8_t src[]="this is a string";
	uint8_t dest[17];
	/* Infinite loop */
	for(;;)
	{
		osDelay(100);

	}
  /* USER CODE END StartTask02 */
}

/* StartTaskSpeexEnc function */
void StartTaskSpeexEnc(void const * argument)
{
  /* USER CODE BEGIN StartTaskSpeexEnc */
	int nbBits = 0;
	uint16_t i;
  /* Infinite loop */
	for(;;)
	{
		//osDelay(100);
		if (xSemaphoreTake(myBinarySemDMAFinishedHandle, 100)){
			//HAL_GPIO_TogglePin(TEST3_GPIO_Port, TEST3_Pin);
			//HAL_GPIO_WritePin(TEST2_GPIO_Port, TEST2_Pin, GPIO_PIN_SET);
			//HAL_UART_Transmit_DMA(&huart1, (uint8_t*)SPEEX_ENC_IN_BUFFER, FRAME_SIZE);
			speex_bits_reset(&bits);
//			for(i=0;i<FRAME_SIZE;i++){
//				SPEEX_ENC_IN_BUFFER[i] -= (ADC_MAX+1)>>1;  //平移波形，分布在0上下
//			}
			speex_encode_int(enc_state, (spx_int16_t*)SPEEX_ENC_IN_BUFFER, &bits);
			nbBits = speex_bits_write(&bits, out_bytes, ENCODED_FRAME_SIZE);

			for(i=0;i<ENCODED_FRAME_SIZE;i++){
				can_bus_encoded_buf[i] = (uint8_t)out_bytes[i]; //将数据拷贝到canbus发送缓冲区
			}
			//HAL_GPIO_TogglePin(TEST_GPIO_Port, TEST_Pin);
			//通知canbus发送语音包
			//HAL_GPIO_TogglePin(TEST3_GPIO_Port, TEST3_Pin);
			xSemaphoreGive( myBinarySemEncodCpltHandle );

			//以下是解码程序，暂时不使用[本地播放]
			//添加一级缓冲，为解码争取20ms【采样一帧时间决定】的处理时间。【不加缓冲的话只能和编码处在同一级20ms缓冲区中】
			// the following code can be used to test local enc-dec-play cycle when you uncomment.
			if(dec_in_buffer_1_dec_busy){
				HAL_DMA_Start_IT(&hdma_memtomem_dma2_stream2, (uint32_t)out_bytes, (uint32_t)dec_in_buffer_2, ENCODED_FRAME_SIZE);
			}
			else{
				HAL_DMA_Start_IT(&hdma_memtomem_dma2_stream2, (uint32_t)out_bytes, (uint32_t)dec_in_buffer_1, ENCODED_FRAME_SIZE);
			}

		}
	}
  /* USER CODE END StartTaskSpeexEnc */
}

/* StartTaskSpeexDec function */
void StartTaskSpeexDec(void const * argument)
{
  /* USER CODE BEGIN StartTaskSpeexDec */
	uint16_t i;
  /* Infinite loop */
  for(;;)
  {
	  //osDelay(100);
	  if (xSemaphoreTake(myBinarySemDecInBufferReadyHandle, 100)){
//		HAL_GPIO_TogglePin(TEST3_GPIO_Port, TEST3_Pin);
		  switch(dec_in_buffer_1_dec_busy){
			case 0:
				speex_bits_read_from(&decBits, (const char *)dec_in_buffer_2, ENCODED_FRAME_SIZE);
				speex_decode_int(dec_state, &decBits, (spx_int16_t*)SPEEX_DEC_OUT_Buffer_2);
				/*处理数据溢出【超过12bit的4096】*/
				for(i=0;i<FRAME_SIZE;i++){
					SPEEX_DEC_OUT_Buffer_2_U[i] = SPEEX_DEC_OUT_Buffer_2[i];
					SPEEX_DEC_OUT_Buffer_2_U[i] += 32768;
					SPEEX_DEC_OUT_Buffer_2_U[i] >>= 4;

				}
				//解码完成，使用DAC测试效果
				//临时启动DAC DMA传输，测试音频通路
			//HAL_GPIO_WritePin(TEST3_GPIO_Port, TEST3_Pin, GPIO_PIN_SET);
			HAL_DAC_Start_DMA(&hdac, DAC_CHANNEL_1, (uint32_t *)SPEEX_DEC_OUT_Buffer_2_U, FRAME_SIZE, DAC_ALIGN_12B_R);

				break;
			case 1:
				speex_bits_read_from(&decBits, (const char *)dec_in_buffer_1, ENCODED_FRAME_SIZE);
				speex_decode_int(dec_state, &decBits, (spx_int16_t*)SPEEX_DEC_OUT_Buffer_1);
				/*处理数据溢出【超过12bit的4096】*/
				for(i=0;i<FRAME_SIZE;i++){
					SPEEX_DEC_OUT_Buffer_1_U[i] = SPEEX_DEC_OUT_Buffer_1[i];
					SPEEX_DEC_OUT_Buffer_1_U[i] += 32768;
					SPEEX_DEC_OUT_Buffer_1_U[i] >>= 4;

				}
				//解码完成，使用DAC测试效果
				//临时启动DAC DMA传输，测试音频通路
			//HAL_GPIO_WritePin(TEST3_GPIO_Port, TEST3_Pin, GPIO_PIN_RESET);
			HAL_DAC_Start_DMA(&hdac, DAC_CHANNEL_1, (uint32_t *)SPEEX_DEC_OUT_Buffer_1_U, FRAME_SIZE, DAC_ALIGN_12B_R);

				break;
			default:break;
		}

	  }

//	  if(xSemaphoreTake( myBinarySemTestHandle, 100 )){
//		HAL_UART_Transmit_DMA(&huart1, (uint8_t*)src, 9);
//		HAL_GPIO_WritePin(TEST2_GPIO_Port, TEST2_Pin, GPIO_PIN_SET);
//		/*Copy the data into the bit-stream struct*/
//		speex_bits_read_from(&bits, out_bytes, ENCODED_FRAME_SIZE);
//		speex_decode_int(dec_state, &bits, (spx_int16_t*)SPEEX_DEC_OUT_Buffer);

//		HAL_GPIO_WritePin(TEST2_GPIO_Port, TEST2_Pin, GPIO_PIN_RESET);
//	  }
  }
  /* USER CODE END StartTaskSpeexDec */
}

/* StartTaskUI function */
void StartTaskUI(void const * argument)
{
  /* USER CODE BEGIN StartTaskUI */
	uint8_t keyVal;
	uint8_t src[]="this is a string";
	uint8_t dest[17];
	uint16_t NB_Frames=0;
	uint32_t sample_index=0;
	uint16_t i=0;

	int16_t test_int16[2] = {0x1122,0x3344};
	Start_Decoding = 0;
	Playing_buf=0;
	/* Infinite loop */
	for(;;)
	{
		osDelay(100);
		keyVal = KEY_Scan(1);
		//if(keyVal != 0){
			//HAL_UART_Transmit_DMA(&huart1, &keyVal, 1);
			switch(keyVal){
				case 0:
					HAL_ADC_Stop_DMA(&hadc1);
					break;
				case 1:
					//HAL_GPIO_TogglePin(TEST_GPIO_Port, TEST_Pin);
					/*启动ADC DMA采集*/
					HAL_ADC_Start_DMA(&hadc1, (uint32_t*)buffer, FRAME_SIZE*2);

					//xSemaphoreGive(myBinarySemTestHandle);
					//HAL_DMA_Start_IT(&hdma_memtomem_dma2_stream1, (uint32_t)src, (uint32_t)dest, 17);
				break;
				case 2:
					//回放时关闭实时声音采集
					HAL_ADC_Stop_DMA(&hadc1);
					//回放应用
					//解码第一帧
					for(i=0;i<ENCODED_FRAME_SIZE; i++)
					{
					  dec_in_buffer_1[i] = male_voice[sample_index++];
					}

					/* Copy the encoded data into the bit-stream struct */
					speex_bits_read_from(&decBits, (const char *)dec_in_buffer_1, ENCODED_FRAME_SIZE);
					/* Decode the data */
					speex_decode_int(dec_state, &decBits, (spx_int16_t*)SPEEX_DEC_OUT_Buffer_1);
					/*处理数据溢出【超过12bit的4096】*/
					for(i=0;i<FRAME_SIZE;i++){
						SPEEX_DEC_OUT_Buffer_1_U[i] = SPEEX_DEC_OUT_Buffer_1[i];
						SPEEX_DEC_OUT_Buffer_1_U[i] += 32768;
						SPEEX_DEC_OUT_Buffer_1_U[i] >>= 4;

					}
					//解码第二帧
					for(i=0;i<ENCODED_FRAME_SIZE; i++)
					{
					  dec_in_buffer_1[i] = male_voice[sample_index++];
					}

					/* Copy the encoded data into the bit-stream struct */
					speex_bits_read_from(&decBits, (const char *)dec_in_buffer_1, ENCODED_FRAME_SIZE);
					/* Decode the data */
					speex_decode_int(dec_state, &decBits, (spx_int16_t*)SPEEX_DEC_OUT_Buffer_2);
					for(i=0;i<FRAME_SIZE;i++){
						SPEEX_DEC_OUT_Buffer_2_U[i] = SPEEX_DEC_OUT_Buffer_2[i];
						SPEEX_DEC_OUT_Buffer_2_U[i] += 32768;
						SPEEX_DEC_OUT_Buffer_2_U[i] >>= 4;
					}
					NB_Frames++;
					//开始播放
					Playing_buf = 1;  //标记 先播放buf1中数据
					HAL_DAC_Start_DMA(&hdac, DAC_CHANNEL_1, (uint32_t *)SPEEX_DEC_OUT_Buffer_1_U, FRAME_SIZE, DAC_ALIGN_12B_R);
					//HAL_UART_Transmit_DMA(&huart1, (uint8_t *)SPEEX_DEC_OUT_Buffer_1, FRAME_SIZE*2);

				    /* Now we wait until the playing of the buffers to re-decode ...*/
					while(NB_Frames < ALL_FRAMES)
					{
					  if(Start_Decoding == 1) /* we start decoding the first buffer */
					  {
						for(i=0;i<ENCODED_FRAME_SIZE; i++)
						{
						  dec_in_buffer_1[i] = male_voice[sample_index++];
						}
						//HAL_GPIO_WritePin(TEST3_GPIO_Port, TEST3_Pin, GPIO_PIN_SET);
						/* Copy the encoded data into the bit-stream struct */
						speex_bits_read_from(&decBits, (const char *)dec_in_buffer_1, ENCODED_FRAME_SIZE);
						/* Decode the data */
						speex_decode_int(dec_state, &decBits, (spx_int16_t*)SPEEX_DEC_OUT_Buffer_1);
						for(i=0;i<FRAME_SIZE;i++){
							SPEEX_DEC_OUT_Buffer_1_U[i] = SPEEX_DEC_OUT_Buffer_1[i];
						SPEEX_DEC_OUT_Buffer_1_U[i] += 32768;
						SPEEX_DEC_OUT_Buffer_1_U[i] >>= 4;
						}
						//HAL_DAC_Start_DMA(&hdac, DAC_CHANNEL_1, (uint32_t *)SPEEX_DEC_OUT_Buffer_1, FRAME_SIZE, DAC_ALIGN_8B_R);
						//HAL_GPIO_WritePin(TEST3_GPIO_Port, TEST3_Pin, GPIO_PIN_RESET);
						Start_Decoding = 0;
						NB_Frames++;
					  }
					  if(Start_Decoding == 2) /* we start decoding the second buffer */
					  {
						for(i=0;i<ENCODED_FRAME_SIZE; i++)
						{
						  dec_in_buffer_1[i] = male_voice[sample_index++];
						}

						/* Copy the encoded data into the bit-stream struct */
						speex_bits_read_from(&decBits, (const char *)dec_in_buffer_1, ENCODED_FRAME_SIZE);
						/* Decode the data */
						speex_decode_int(dec_state, &decBits, (spx_int16_t*)SPEEX_DEC_OUT_Buffer_2);
						for(i=0;i<FRAME_SIZE;i++){
							SPEEX_DEC_OUT_Buffer_2_U[i] = SPEEX_DEC_OUT_Buffer_2[i];
						SPEEX_DEC_OUT_Buffer_2_U[i] += 32768;
						SPEEX_DEC_OUT_Buffer_2_U[i] >>= 4;
						}

						//HAL_DAC_Start_DMA(&hdac, DAC_CHANNEL_1, (uint32_t *)SPEEX_DEC_OUT_Buffer_2, FRAME_SIZE, DAC_ALIGN_8B_R);
						Start_Decoding = 0;
						NB_Frames++;
					  }
					}
					Playing_buf =0 ;//stop UARTTRASMIT
					sample_index = 0;
					NB_Frames = 0;
					//播放完毕后开启实时ADC采集
					HAL_ADC_Start_DMA(&hadc1, (uint32_t*)buffer, FRAME_SIZE*2);
					//HAL_UART_Transmit_DMA(&huart1, dest, 17);
				break;
				case 3:
					/* 临时进行CAN的发送测试 */
					/* 拼装canbus语音包 */
					/* 第1个语音包 */
					can_bus_buf[0] = CANBUS_SPEEX_ENCODED_PACKET_1;
					for(i=1;i<STD_CAN_BUF_LEN_MAX;i++){
						can_bus_buf[i] = 0x13 + i;
					}
					CAN1_Send_Msg(can_bus_buf,STD_CAN_BUF_LEN_MAX);
					/* 第2个语音包 */
					can_bus_buf[0] = CANBUS_SPEEX_ENCODED_PACKET_2;
					for(i=1;i<STD_CAN_BUF_LEN_MAX;i++){
						can_bus_buf[i] = 0x23 + i;
					}
					CAN1_Send_Msg(can_bus_buf,STD_CAN_BUF_LEN_MAX);
					/* 第3个语音包 */
					can_bus_buf[0] = CANBUS_SPEEX_ENCODED_PACKET_3;
					for(i=1;i<STD_CAN_BUF_LEN_MAX-1;i++){
						can_bus_buf[i] = 0x33 + i;
					}
					can_bus_buf[STD_CAN_BUF_LEN_MAX-1] = 0; //第3个语音包最后一个字节保留，暂定为0【编码后的语音一共20bytes】
					CAN1_Send_Msg(can_bus_buf,STD_CAN_BUF_LEN_MAX);
					//HAL_UART_Transmit_DMA(&huart1, (uint8_t *)test_int16, 2*2);
				break;
			}
		//}

	}
  /* USER CODE END StartTaskUI */
}

/* StartTaskCanBusSend function */
void StartTaskCanBusSend(void const * argument)
{
  /* USER CODE BEGIN StartTaskCanBusSend */
	uint8_t i,j=0;
	/* Infinite loop */
	for(;;)
	{
		//osDelay(1);
		if(xSemaphoreTake( myBinarySemEncodCpltHandle, 100 )){
			//HAL_GPIO_TogglePin(TEST_GPIO_Port, TEST_Pin);
			HAL_GPIO_WritePin(TEST_GPIO_Port, TEST_Pin, GPIO_PIN_SET);
			j=0; //重置计数器
			/* 拼装canbus语音包 */
			/* 第1个语音包 */
			can_bus_buf[0] = CANBUS_SPEEX_ENCODED_PACKET_1;
			for(i=1;i<STD_CAN_BUF_LEN_MAX;i++){
				can_bus_buf[i] = can_bus_encoded_buf[j++];
			}
			CAN1_Send_Msg(can_bus_buf,STD_CAN_BUF_LEN_MAX);
			/* 第2个语音包 */
			can_bus_buf[0] = CANBUS_SPEEX_ENCODED_PACKET_2;
			for(i=1;i<STD_CAN_BUF_LEN_MAX;i++){
				can_bus_buf[i] = can_bus_encoded_buf[j++];
			}
			CAN1_Send_Msg(can_bus_buf,STD_CAN_BUF_LEN_MAX);
			/* 第3个语音包 */
			can_bus_buf[0] = CANBUS_SPEEX_ENCODED_PACKET_3;
			for(i=1;i<STD_CAN_BUF_LEN_MAX-1;i++){
				can_bus_buf[i] = can_bus_encoded_buf[j++];
			}
			can_bus_buf[STD_CAN_BUF_LEN_MAX-1] = 0; //第3个语音包最后一个字节保留，暂定为0【编码后的语音一共20bytes】
			CAN1_Send_Msg(can_bus_buf,STD_CAN_BUF_LEN_MAX);
			HAL_GPIO_WritePin(TEST_GPIO_Port, TEST_Pin, GPIO_PIN_RESET);
		}
	}
  /* USER CODE END StartTaskCanBusSend */
}

/* StartTaskCanRecvPreProcess function */
void StartTaskCanRecvPreProcess(void const * argument)
{
  /* USER CODE BEGIN StartTaskCanRecvPreProcess */
	uint8_t i=0,j=0;

  /* Infinite loop */
  for(;;)
  {
    if (xSemaphoreTake(myBinarySemCanRecvCpltHandle, 20)){
		/* 语音包接收完成，启动解码流程 */
		//添加一级缓冲，为解码争取10ms【采样一帧时间决定】的处理时间。【不加缓冲的话只能和编码处在同一级10ms缓冲区中】

		if(dec_in_buffer_1_dec_busy){
			HAL_DMA_Start_IT(&hdma_memtomem_dma2_stream2, (uint32_t)out_bytes, (uint32_t)dec_in_buffer_2, ENCODED_FRAME_SIZE);
		}
		else{
			HAL_DMA_Start_IT(&hdma_memtomem_dma2_stream2, (uint32_t)out_bytes, (uint32_t)dec_in_buffer_1, ENCODED_FRAME_SIZE);
		}

	}
  }
  /* USER CODE END StartTaskCanRecvPreProcess */
}

/* USER CODE BEGIN Application */

void HAL_CAN_RxCpltCallback(CAN_HandleTypeDef* hcan)
{
  /* Prevent unused argument(s) compilation warning */
  //UNUSED(hcan);
  /* NOTE : This function Should not be modified, when the callback is needed,
            the HAL_CAN_RxCpltCallback could be implemented in the user file
   */
	//CAN_Receive_IT()函数会关闭FIFO0消息挂号中断，因此我们需要重新打开
    static uint8_t i,j=0;
	static uint8_t can_audio_step=0;
	static uint8_t can_audio_packet_cnt=0;  //canbus语音包计数器，计数到3则为一完整帧，可启动解码，否则重置接收
	__HAL_CAN_ENABLE_IT(&hcan1,CAN_IT_FMP0);//重新开启FIF00消息挂号中断
	//HAL_CAN_Receive_IT(&hcan1,CAN_FIFO0);
	//HAL_GPIO_TogglePin(TEST_GPIO_Port, TEST_Pin);
	for(i=0;i<hcan1.pRxMsg->DLC;i++){
		can_recv_buf[i] = hcan1.pRxMsg->Data[i];
	}
	switch(can_recv_buf[0]){
		case CANBUS_SPEEX_ENCODED_PACKET_1:
			HAL_GPIO_WritePin(TEST3_GPIO_Port, TEST3_Pin, GPIO_PIN_SET);
			can_audio_step=0;
			can_audio_packet_cnt++;
			for(i=1;i<hcan1.pRxMsg->DLC;i++){
				out_bytes[j++] = (char)can_recv_buf[i];
			}
			break;
		case CANBUS_SPEEX_ENCODED_PACKET_2:
			can_audio_step=1;
			can_audio_packet_cnt++;
			for(i=1;i<hcan1.pRxMsg->DLC;i++){
				out_bytes[j++] = (char)can_recv_buf[i];
			}
			break;
		case CANBUS_SPEEX_ENCODED_PACKET_3:
			can_audio_step=2;
			can_audio_packet_cnt++;
			for(i=1;i<hcan1.pRxMsg->DLC - 1;i++){
				out_bytes[j++] = (char)can_recv_buf[i];
			}

			if(can_audio_packet_cnt == 3 && j == 20){
				/* 重置接收过程 */
				j=0;
				can_audio_step = 0;
				can_audio_packet_cnt = 0;
				/* 语音包接收完成，启动解码流程 */
							//添加一级缓冲，为解码争取10ms【采样一帧时间决定】的处理时间。【不加缓冲的话只能和编码处在同一级10ms缓冲区中】
				HAL_GPIO_WritePin(TEST3_GPIO_Port, TEST3_Pin, GPIO_PIN_RESET);
				xSemaphoreGiveFromISR(myBinarySemCanRecvCpltHandle, NULL);
			}
			else {
				/* 重置接收过程 */
				j=0;
				can_audio_step = 0;
				can_audio_packet_cnt = 0;
			}
			break;
		/* other canbus command*/
		default:
			/* 重置接收过程 */
			j=0;
			can_audio_step = 0;
			can_audio_packet_cnt = 0;
			break;
	}

}
/* USER CODE END Application */

/************************ (C) COPYRIGHT STMicroelectronics *****END OF FILE****/
